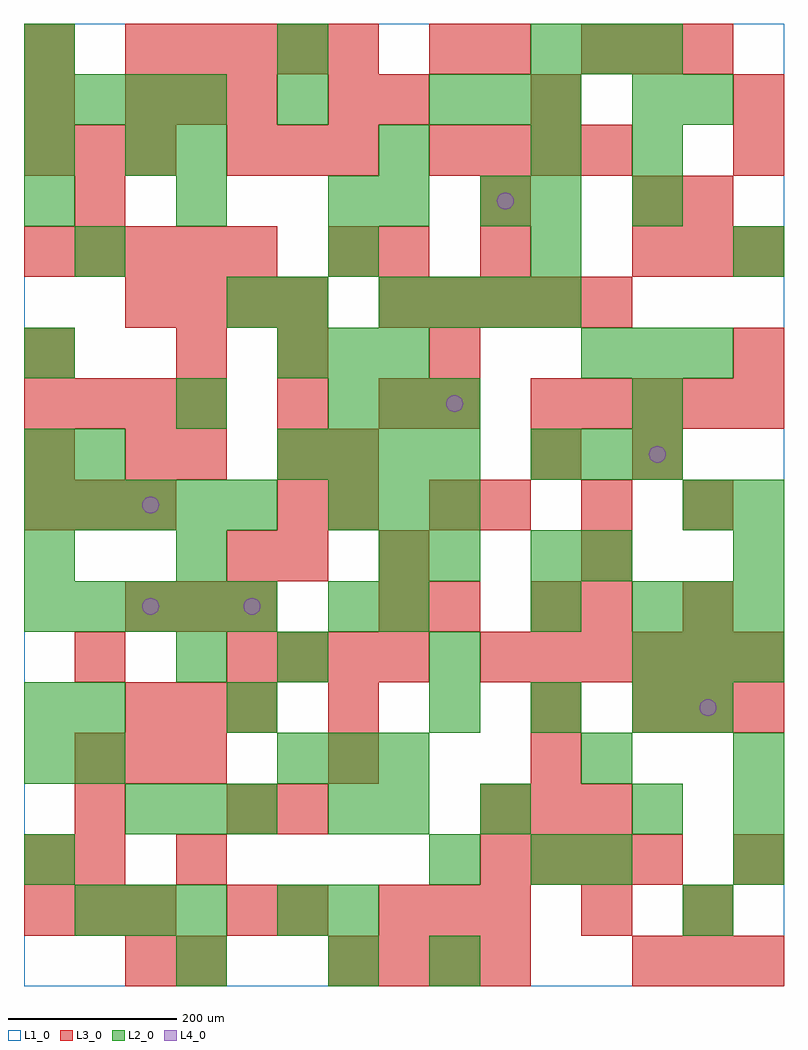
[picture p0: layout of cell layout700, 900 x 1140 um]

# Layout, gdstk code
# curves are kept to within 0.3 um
import gdstk
lib = gdstk.Library(unit=1e-6, precision=1e-09)
def R(c, l, rs):  # rectangles x0, y0, x1, y1
    for r in rs: c.add(gdstk.rectangle(r[:2], r[2:], *l))
def A(c, l, x, y, w, h, nx, ny, dx, dy):  # array of equal rectangles
    R(c, l, [(x+i*dx, y+j*dy, x+i*dx+w, y+j*dy+h) for i in range(nx) for j in range(ny)])
def P(c, l, *ps):  # polygons
    for p in ps: c.add(gdstk.Polygon(p, *l))
L1_0 = (1, 0)
L2_0 = (2, 0)
L3_0 = (3, 0)
L4_0 = (4, 0)

layout700 = lib.new_cell('layout700')
R(layout700, L1_0, [(0,0,900,1140)])
A(layout700, L2_0, 60, 60, 60, 60, 3, 1, 60, 0)
A(layout700, L2_0, 780, 60, 60, 60, 1, 3, 0, 240)
A(layout700, L2_0, 840, 120, 60, 60, 1, 3, 0, 60)
A(layout700, L2_0, 120, 180, 60, 60, 3, 1, 60, 0)
A(layout700, L2_0, 300, 240, 60, 60, 3, 2, 60, 480)
A(layout700, L2_0, 480, 300, 60, 60, 3, 1, 120, 0)
A(layout700, L2_0, 720, 360, 60, 60, 3, 2, 60, 60)
A(layout700, L2_0, 0, 420, 60, 60, 5, 2, 60, 120)
A(layout700, L2_0, 0, 480, 60, 60, 1, 3, 0, 120)
A(layout700, L2_0, 360, 540, 60, 60, 3, 2, 60, 120)
A(layout700, L2_0, 300, 600, 60, 60, 4, 1, 60, 0)
A(layout700, L2_0, 600, 600, 60, 60, 3, 1, 60, 0)
A(layout700, L2_0, 660, 720, 60, 60, 3, 1, 60, 0)
A(layout700, L2_0, 420, 780, 60, 60, 4, 1, 60, 0)
A(layout700, L2_0, 360, 840, 60, 60, 3, 1, 240, 0)
A(layout700, L2_0, 0, 900, 60, 60, 3, 1, 180, 0)
A(layout700, L2_0, 720, 900, 60, 60, 1, 4, 0, 60)
A(layout700, L2_0, 0, 1020, 60, 60, 4, 1, 60, 0)
A(layout700, L2_0, 480, 1020, 60, 60, 3, 1, 60, 0)
A(layout700, L2_0, 0, 1080, 60, 60, 3, 1, 300, 0)
R(layout700, L2_0, [(180,0,240,60), (360,0,420,60), (480,0,540,60), (300,60,360,120), (360,60,420,120), (0,120,60,180), (480,120,540,180), (600,120,660,180), (660,120,720,180), (360,180,420,240), (420,180,480,240), (540,180,600,240), (720,180,780,240), (0,240,60,300), (60,240,120,300), (660,240,720,300), (0,300,60,360), (60,300,120,360), (240,300,300,360), (180,360,240,420), (300,360,360,420), (480,360,540,420), (360,420,420,480), (420,420,480,480), (600,420,660,480), (180,480,240,540), (420,480,480,540), (480,480,540,540), (600,480,660,540), (660,480,720,540), (840,480,900,540), (840,540,900,600), (60,600,120,660), (180,660,240,720), (720,660,780,720), (240,780,300,840), (300,780,360,840), (60,840,120,900), (420,900,480,960), (540,900,600,960), (600,900,660,960), (0,960,60,1020), (120,960,180,1020), (180,960,240,1020), (420,960,480,1020), (600,960,660,1020), (300,1020,360,1080), (780,1020,840,1080), (660,1080,720,1140)])
A(layout700, L3_0, 360, 0, 60, 60, 4, 1, 60, 0)
A(layout700, L3_0, 720, 0, 60, 60, 3, 2, 60, 300)
A(layout700, L3_0, 0, 60, 60, 60, 3, 2, 60, 480)
A(layout700, L3_0, 420, 60, 60, 60, 3, 1, 60, 0)
A(layout700, L3_0, 540, 120, 60, 60, 4, 1, 60, 0)
A(layout700, L3_0, 540, 180, 60, 60, 3, 1, 60, 0)
A(layout700, L3_0, 60, 240, 60, 60, 3, 1, 60, 0)
A(layout700, L3_0, 120, 300, 60, 60, 3, 2, 60, 120)
A(layout700, L3_0, 240, 360, 60, 60, 4, 1, 60, 0)
A(layout700, L3_0, 540, 360, 60, 60, 6, 1, 60, 0)
A(layout700, L3_0, 480, 420, 60, 60, 1, 3, 0, 120)
A(layout700, L3_0, 300, 480, 60, 60, 1, 5, 0, 60)
A(layout700, L3_0, 420, 480, 60, 60, 1, 4, 0, 180)
A(layout700, L3_0, 540, 540, 60, 60, 3, 1, 120, 0)
A(layout700, L3_0, 0, 660, 60, 60, 4, 1, 60, 0)
A(layout700, L3_0, 600, 660, 60, 60, 5, 1, 60, 0)
A(layout700, L3_0, 120, 780, 60, 60, 4, 1, 60, 0)
A(layout700, L3_0, 420, 780, 60, 60, 5, 1, 60, 0)
A(layout700, L3_0, 0, 840, 60, 60, 5, 1, 60, 0)
A(layout700, L3_0, 720, 840, 60, 60, 3, 1, 60, 0)
A(layout700, L3_0, 0, 960, 60, 60, 3, 1, 60, 0)
A(layout700, L3_0, 240, 960, 60, 60, 3, 1, 60, 0)
A(layout700, L3_0, 480, 960, 60, 60, 4, 1, 60, 0)
A(layout700, L3_0, 120, 1020, 60, 60, 3, 1, 60, 0)
A(layout700, L3_0, 120, 1080, 60, 60, 5, 1, 60, 0)
A(layout700, L3_0, 660, 1080, 60, 60, 3, 1, 60, 0)
R(layout700, L3_0, [(120,0,180,60), (180,0,240,60), (240,60,300,120), (300,60,360,120), (660,60,720,120), (780,60,840,120), (0,120,60,180), (60,120,120,180), (180,120,240,180), (840,120,900,180), (60,180,120,240), (240,180,300,240), (300,180,360,240), (360,240,420,300), (600,240,660,300), (360,300,420,360), (600,300,660,360), (60,360,120,420), (420,420,480,480), (600,420,660,480), (660,420,720,480), (780,420,840,480), (240,480,300,540), (660,480,720,540), (360,540,420,600), (0,600,60,660), (120,600,180,660), (180,600,240,660), (360,600,420,660), (600,600,660,660), (720,600,780,660), (0,720,60,780), (180,720,240,780), (480,720,540,780), (840,720,900,780), (360,840,420,900), (540,840,600,900), (60,900,120,960), (540,900,600,960), (720,900,780,960), (780,900,840,960), (840,960,900,1020), (0,1020,60,1080), (360,1020,420,1080), (600,1020,660,1080), (840,1020,900,1080), (0,1080,60,1140), (480,1080,540,1140), (540,1080,600,1140)])
P(layout700, L4_0, [(160,450),(159.239,453.827),(157.071,457.071),(153.827,459.239),(150,460),(146.173,459.239),(142.929,457.071),(140.761,453.827),(140,450),(140.761,446.173),(142.929,442.929),(146.173,440.761),(150,440),(153.827,440.761),(157.071,442.929),(159.239,446.173)],
  [(160,570),(159.239,573.827),(157.071,577.071),(153.827,579.239),(150,580),(146.173,579.239),(142.929,577.071),(140.761,573.827),(140,570),(140.761,566.173),(142.929,562.929),(146.173,560.761),(150,560),(153.827,560.761),(157.071,562.929),(159.239,566.173)],
  [(280,450),(279.239,453.827),(277.071,457.071),(273.827,459.239),(270,460),(266.173,459.239),(262.929,457.071),(260.761,453.827),(260,450),(260.761,446.173),(262.929,442.929),(266.173,440.761),(270,440),(273.827,440.761),(277.071,442.929),(279.239,446.173)],
  [(520,690),(519.239,693.827),(517.071,697.071),(513.827,699.239),(510,700),(506.173,699.239),(502.929,697.071),(500.761,693.827),(500,690),(500.761,686.173),(502.929,682.929),(506.173,680.761),(510,680),(513.827,680.761),(517.071,682.929),(519.239,686.173)],
  [(580,930),(579.239,933.827),(577.071,937.071),(573.827,939.239),(570,940),(566.173,939.239),(562.929,937.071),(560.761,933.827),(560,930),(560.761,926.173),(562.929,922.929),(566.173,920.761),(570,920),(573.827,920.761),(577.071,922.929),(579.239,926.173)],
  [(760,630),(759.239,633.827),(757.071,637.071),(753.827,639.239),(750,640),(746.173,639.239),(742.929,637.071),(740.761,633.827),(740,630),(740.761,626.173),(742.929,622.929),(746.173,620.761),(750,620),(753.827,620.761),(757.071,622.929),(759.239,626.173)],
  [(820,330),(819.239,333.827),(817.071,337.071),(813.827,339.239),(810,340),(806.173,339.239),(802.929,337.071),(800.761,333.827),(800,330),(800.761,326.173),(802.929,322.929),(806.173,320.761),(810,320),(813.827,320.761),(817.071,322.929),(819.239,326.173)])

lib.write_gds('layout700.gds')
